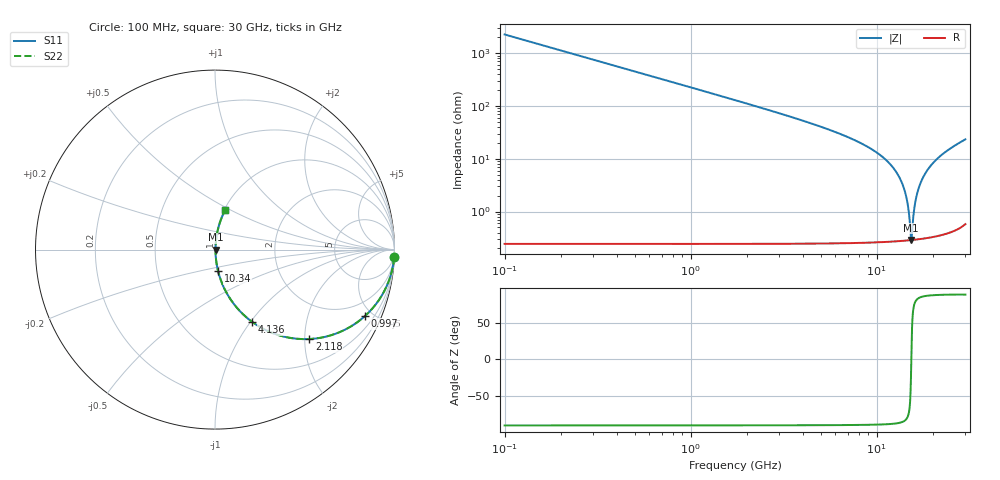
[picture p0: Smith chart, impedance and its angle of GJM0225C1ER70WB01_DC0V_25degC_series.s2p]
!Murata Part Number: GJM0225C1ER70WB01
!These Parameters are Measured in Series Mode Connection
!  o--ll--o
!Port1  Port2
!  o------o
!Operation Temp=25[degC], DC Bias Voltage=0[V]
!Freq. Start=100[MHz] Stop=30[GHz], 401[Steps]
!Data Generated on Feb 1, 2023
# Hz S RI R 50
!Freq.(Hz) S11(Real) S11(Imag) S21(Real) S21(Imag) S12(Real) S12(Imag) S22(Real) S22(Imag)
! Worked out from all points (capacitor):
!   401 points, 100 MHz to 30 GHz, reference 50 ohm
!   read as one part in series: C = 700 fF near 249.5 MHz
!   lowest |Z| = 289 mohm at 15.35 GHz (marker M1)
!   series resonance near 15.36 GHz, so ESL is about 150 pH
!   S11 on the Smith chart (normalised r, x): 100 MHz: 1, -45; 997 MHz: 1.00, -4.54; 2.118 GHz: 1.00, -2.11; 4.136 GHz: 1.00, -1.02; 10.34 GHz: 1.01, -0.24; 30 GHz: 1.01, +0.47
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1e8  0.9981 -0.0439  0.00194 0.0439  0.00194 0.0439  0.9981 -0.0439
4.7375e8  0.9582 -0.1998  0.0418 0.1998  0.0418 0.1998  0.9582 -0.1998
9.97e8  0.8373 -0.3685  0.1627 0.3685  0.1627 0.3685  0.8373 -0.3685
2.11825e9  0.5259 -0.4982  0.4741 0.4982  0.4741 0.4982  0.5259 -0.4982
4.1365e9  0.2078 -0.4033  0.7922 0.4033  0.7922 0.4033  0.2078 -0.4033
5.10825e9  0.1375 -0.3412  0.8625 0.3412  0.8625 0.3412  0.1375 -0.3412
1.01165e10  0.0187 -0.1255  0.9813 0.1255  0.9813 0.1255  0.0187 -0.1255
1.034075e10  0.017 -0.1188  0.983 0.1188  0.983 0.1188  0.017 -0.1188
1.228425e10  0.0072 -0.0668  0.9928 0.0668  0.9928 0.0668  0.0072 -0.0668
1.362975e10  0.00405 -0.0357  0.9959 0.0357  0.9959 0.0357  0.00405 -0.0357
1.452675e10  0.0031 -0.0167  0.9969 0.0167  0.9969 0.0167  0.0031 -0.0167
1.505e10  0.00289 -0.00612  0.9971 0.00612  0.9971 0.00612  0.00289 -0.00612
1.51995e10  0.00288 -0.00316  0.9971 0.00316  0.9971 0.00316  0.00288 -0.00316
1.5349e10  0.00288 -0.000228  0.9971 0.000228  0.9971 0.000228  0.00288 -0.000228
1.54985e10  0.00289 0.00268  0.9971 -0.00268  0.9971 -0.00268  0.00289 0.00268
1.57975e10  0.00298 0.00841  0.997 -0.00841  0.997 -0.00841  0.00298 0.00841
1.602175e10  0.00308 0.0126  0.9969 -0.0126  0.9969 -0.0126  0.00308 0.0126
1.676925e10  0.00368 0.0264  0.9963 -0.0264  0.9963 -0.0264  0.00368 0.0264
1.811475e10  0.00559 0.0499  0.9944 -0.0499  0.9944 -0.0499  0.00559 0.0499
2.005825e10  0.00999 0.0815  0.99 -0.0815  0.99 -0.0815  0.00999 0.0815
2.50665e10  0.0286 0.1543  0.9714 -0.1543  0.9714 -0.1543  0.0286 0.1543
3e10  0.0569 0.2197  0.9431 -0.2197  0.9431 -0.2197  0.0569 0.2197
